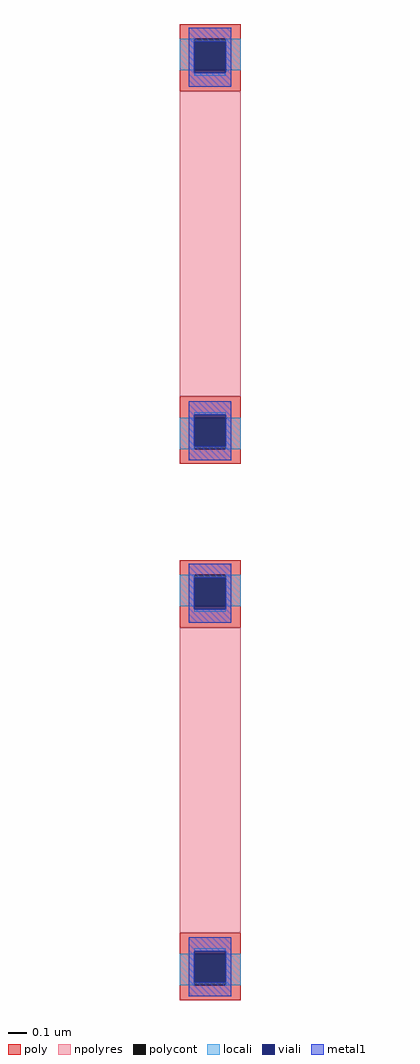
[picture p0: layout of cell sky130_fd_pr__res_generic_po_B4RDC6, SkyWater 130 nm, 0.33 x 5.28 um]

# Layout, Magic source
magic
tech sky130A
magscale 1 2
<< poly >>
rect -33 512 33 528
rect -33 478 -17 512
rect 17 478 33 512
rect -33 455 33 478
rect -33 102 33 125
rect -33 68 -17 102
rect 17 68 33 102
rect -33 52 33 68
rect -33 -68 33 -52
rect -33 -102 -17 -68
rect 17 -102 33 -68
rect -33 -125 33 -102
rect -33 -478 33 -455
rect -33 -512 -17 -478
rect 17 -512 33 -478
rect -33 -528 33 -512
<< polycont >>
rect -17 478 17 512
rect -17 68 17 102
rect -17 -102 17 -68
rect -17 -512 17 -478
<< npolyres >>
rect -33 125 33 455
rect -33 -455 33 -125
<< locali >>
rect -33 478 -17 512
rect 17 478 33 512
rect -17 472 17 475
rect -17 105 17 108
rect -33 68 -17 102
rect 17 68 33 102
rect -33 -102 -17 -68
rect 17 -102 33 -68
rect -17 -108 17 -105
rect -17 -475 17 -472
rect -33 -512 -17 -478
rect 17 -512 33 -478
<< viali >>
rect -17 478 17 509
rect -17 475 17 478
rect -17 102 17 105
rect -17 71 17 102
rect -17 -102 17 -71
rect -17 -105 17 -102
rect -17 -478 17 -475
rect -17 -509 17 -478
<< metal1 >>
rect -23 509 23 524
rect -23 475 -17 509
rect 17 475 23 509
rect -23 460 23 475
rect -23 105 23 120
rect -23 71 -17 105
rect 17 71 23 105
rect -23 56 23 71
rect -23 -71 23 -56
rect -23 -105 -17 -71
rect 17 -105 23 -71
rect -23 -120 23 -105
rect -23 -475 23 -460
rect -23 -509 -17 -475
rect 17 -509 23 -475
rect -23 -524 23 -509
<< end >>
